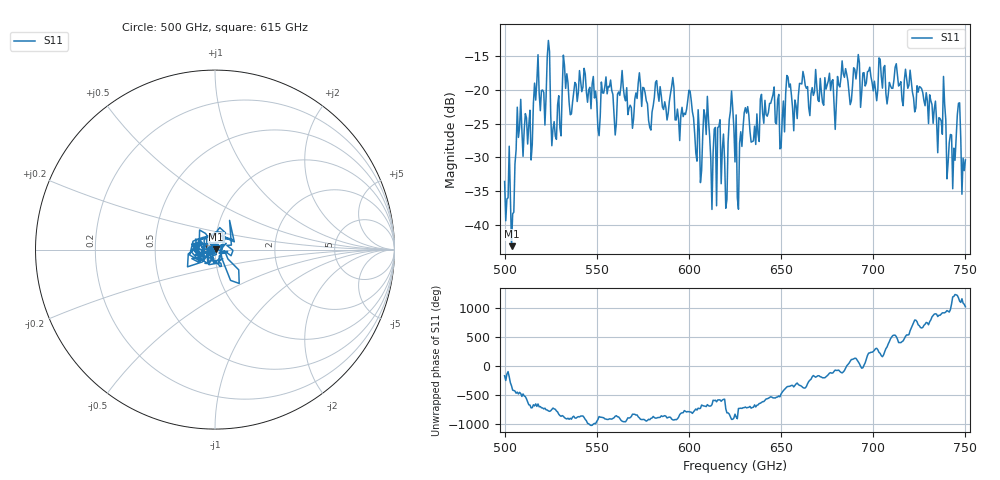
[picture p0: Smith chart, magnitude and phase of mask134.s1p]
!Created with skrf (http://scikit-rf.org).
# GHz S MA R 50.0
!freq magS11 angS11
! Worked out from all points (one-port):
!   401 points, 500 GHz to 750 GHz, reference 50 ohm
!   lowest |S11| = -43.2 dB at 503.8 GHz (marker M1), VSWR 1.01, Z = 50.7 + j0.188 ohm
!   |S11| at or under -10 dB: start of sweep to end of sweep
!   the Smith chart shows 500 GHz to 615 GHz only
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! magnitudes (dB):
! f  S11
! 500 GHz  -33.6
! 503.8 GHz  -43.2
! 507.5 GHz  -27.1
! 513.8 GHz  -23.0
! 516.9 GHz  -21.5
! 523.8 GHz  -12.7
! 526.9 GHz  -24.7
! 531.2 GHz  -20.2
! 562.5 GHz  -20.8
! 579.4 GHz  -26.0
! 590.6 GHz  -19.5
! 593.8 GHz  -22.9
! 600.6 GHz  -20.2
! 605.6 GHz  -26.1
! 609.4 GHz  -26.6
! 619.4 GHz  -30.5
! 622.5 GHz  -23.2
! 625 GHz  -30.7
! 627.5 GHz  -27.9
! 631.2 GHz  -23.5
! 635 GHz  -27.6
! 656.2 GHz  -22.7
! 687.5 GHz  -22.2
! 718.8 GHz  -19.8
! 738.1 GHz  -18.0
! 741.9 GHz  -26.6
! 746.2 GHz  -22.0
! 750 GHz  -30.4
